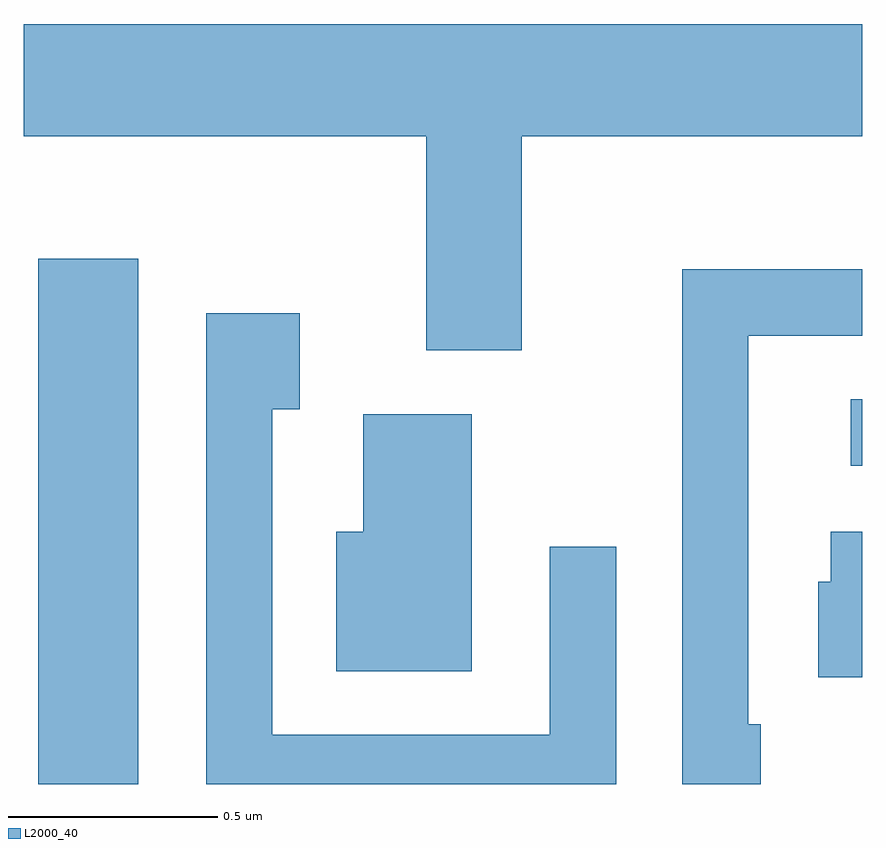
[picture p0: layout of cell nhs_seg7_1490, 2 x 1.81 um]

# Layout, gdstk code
import gdstk
lib = gdstk.Library(unit=1e-6, precision=1e-09)
def R(c, l, rs):  # rectangles x0, y0, x1, y1
    for r in rs: c.add(gdstk.rectangle(r[:2], r[2:], *l))
def P(c, l, *ps):  # polygons
    for p in ps: c.add(gdstk.Polygon(p, *l))
L2000_40 = (2000, 40)

nhs_seg7_1490 = lib.new_cell('nhs_seg7_1490')
R(nhs_seg7_1490, L2000_40, [(195.646,1788.252,195.884,1789.504), (197.583,1789.011,197.611,1789.169)])
P(nhs_seg7_1490, L2000_40, [(196.799,1789.796),(197.611,1789.796),(197.611,1790.064),(195.611,1790.064),(195.611,1789.796),(196.571,1789.796),(196.571,1789.286),(196.799,1789.286)],
  [(197.369,1788.394),(197.339,1788.394),(197.339,1789.321),(197.611,1789.321),(197.611,1789.479),(197.181,1789.479),(197.181,1788.252),(197.369,1788.252)],
  [(197.024,1788.818),(196.866,1788.818),(196.866,1788.369),(196.204,1788.369),(196.204,1789.146),(196.269,1789.146),(196.269,1789.374),(196.046,1789.374),(196.046,1788.252),(197.024,1788.252)],
  [(196.679,1789.134),(196.421,1789.134),(196.421,1788.854),(196.356,1788.854),(196.356,1788.521),(196.679,1788.521)],
  [(197.611,1788.854),(197.536,1788.854),(197.536,1788.734),(197.506,1788.734),(197.506,1788.506),(197.611,1788.506)])

lib.write_gds('nhs_seg7_1490.gds')
